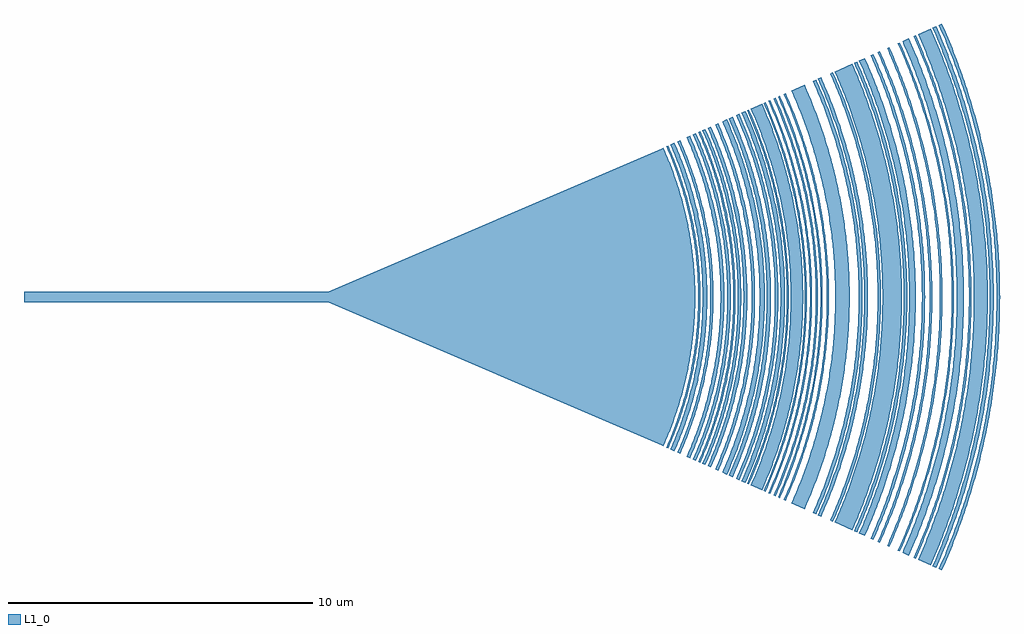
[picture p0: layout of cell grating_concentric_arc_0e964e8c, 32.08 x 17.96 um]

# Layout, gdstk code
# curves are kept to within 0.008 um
import gdstk
lib = gdstk.Library(unit=1e-6, precision=1e-09)
def R(c, l, rs):  # rectangles x0, y0, x1, y1
    for r in rs: c.add(gdstk.rectangle(r[:2], r[2:], *l))
def P(c, l, *ps):  # polygons
    for p in ps: c.add(gdstk.Polygon(p, *l))
L1_0 = (1, 0)

straight_b617759b = lib.new_cell('straight_b617759b')
R(straight_b617759b, L1_0, [(0,-0.175,10,0.175)])

ring_ac235c54_transform_ = lib.new_cell('ring_ac235c54_transform_859a3ea5')
P(ring_ac235c54_transform_, L1_0, [(10.963,-4.881),(11.178,-4.366),(11.413,-3.708),(11.591,-3.106),(11.738,-2.495),(11.83,-2.015),(11.927,-1.324),(11.98,-0.698),(12,-0.07),(11.984,0.628),(11.948,1.115),(11.893,1.601),(11.78,2.29),(11.644,2.903),(11.434,3.642),(11.228,4.235),(10.963,4.881),(11.02,4.907),(11.237,4.389),(11.473,3.728),(11.634,3.19),(11.8,2.508),(11.926,1.818),(12.011,1.121),(12.056,0.421),(12.063,-0.14),(12.039,-0.771),(11.982,-1.4),(11.892,-2.026),(11.754,-2.714),(11.557,-3.46),(11.312,-4.192),(11.02,-4.907)])

ring_e9fd9d29_transform_ = lib.new_cell('ring_e9fd9d29_transform_0491ef3d')
P(ring_e9fd9d29_transform_, L1_0, [(11.113,-4.948),(11.332,-4.426),(11.57,-3.759),(11.751,-3.149),(11.914,-2.46),(12.037,-1.763),(12.099,-1.272),(12.149,-0.637),(12.165,-0.071),(12.149,0.637),(12.113,1.131),(12.037,1.763),(11.942,2.321),(11.787,3.012),(11.613,3.624),(11.357,4.36),(11.113,4.948),(11.176,4.976),(11.447,4.318),(11.657,3.713),(11.835,3.098),(11.981,2.474),(12.105,1.773),(12.167,1.279),(12.221,0.569),(12.234,-0.071),(12.209,-0.782),(12.143,-1.491),(12.048,-2.124),(11.936,-2.683),(11.835,-3.098),(11.72,-3.509),(11.496,-4.184),(11.343,-4.583),(11.176,-4.976)])

ring_36528f68_transform_ = lib.new_cell('ring_36528f68_transform_8f801a2b')
P(ring_36528f68_transform_, L1_0, [(11.245,-5.007),(11.466,-4.478),(11.662,-3.94),(11.852,-3.324),(12.01,-2.699),(12.158,-1.926),(12.226,-1.429),(12.284,-0.787),(12.309,-0.072),(12.296,0.573),(12.256,1.144),(12.199,1.642),(12.122,2.137),(11.961,2.908),(11.771,3.599),(11.492,4.411),(11.245,5.007),(11.383,5.068),(11.658,4.397),(11.894,3.712),(12.072,3.085),(12.217,2.449),(12.328,1.806),(12.406,1.158),(12.443,0.652),(12.46,-0.072),(12.439,-0.724),(12.358,-1.59),(12.258,-2.235),(12.09,-3.014),(11.957,-3.504),(11.804,-3.988),(11.606,-4.533),(11.441,-4.935),(11.383,-5.068)])

ring_4e9a5f88_transform_ = lib.new_cell('ring_4e9a5f88_transform_63920a7b')
P(ring_4e9a5f88_transform_, L1_0, [(11.48,-5.111),(11.706,-4.572),(11.952,-3.883),(12.119,-3.323),(12.277,-2.684),(12.376,-2.182),(12.482,-1.459),(12.541,-0.804),(12.566,-0.146),(12.559,0.439),(12.519,1.095),(12.434,1.821),(12.336,2.398),(12.157,3.182),(11.974,3.814),(11.706,4.572),(11.48,5.111),(11.568,5.15),(11.822,4.538),(12.066,3.843),(12.193,3.42),(12.371,2.705),(12.507,1.981),(12.594,1.324),(12.646,0.663),(12.663,-0.074),(12.642,-0.736),(12.569,-1.543),(12.471,-2.199),(12.322,-2.92),(12.11,-3.702),(11.822,-4.538),(11.568,-5.15)])

ring_e7aee1b5_transform_ = lib.new_cell('ring_e7aee1b5_transform_5269348d')
P(ring_e7aee1b5_transform_, L1_0, [(11.783,-5.246),(12.068,-4.552),(12.267,-3.986),(12.478,-3.266),(12.616,-2.682),(12.715,-2.166),(12.811,-1.497),(12.872,-0.825),(12.898,-0.075),(12.884,0.6),(12.849,1.124),(12.783,1.721),(12.689,2.314),(12.533,3.047),(12.312,3.843),(12.068,4.552),(11.783,5.246),(11.895,5.296),(12.129,4.737),(12.384,4.024),(12.558,3.443),(12.737,2.707),(12.861,2.037),(12.958,1.286),(13.007,0.606),(13.021,-0.076),(12.999,-0.757),(12.933,-1.512),(12.81,-2.336),(12.67,-3.003),(12.558,-3.443),(12.43,-3.879),(12.287,-4.311),(12.129,-4.737),(11.895,-5.296)])

ring_17fc9928_transform_ = lib.new_cell('ring_17fc9928_transform_01e272eb')
P(ring_17fc9928_transform_, L1_0, [(11.988,-5.338),(12.224,-4.774),(12.481,-4.055),(12.656,-3.47),(12.82,-2.803),(12.937,-2.204),(13.043,-1.448),(13.101,-0.763),(13.123,-0.076),(13.109,0.611),(13.059,1.296),(12.984,1.902),(12.882,2.504),(12.733,3.175),(12.504,3.983),(12.224,4.774),(11.988,5.338),(12.088,5.382),(12.326,4.814),(12.585,4.089),(12.801,3.35),(12.959,2.676),(13.093,1.918),(13.168,1.307),(13.218,0.616),(13.232,-0.077),(13.21,-0.769),(13.134,-1.613),(13.018,-2.374),(12.876,-3.052),(12.654,-3.869),(12.486,-4.381),(12.326,-4.814),(12.088,-5.382)])

ring_823b5f26_transform_ = lib.new_cell('ring_823b5f26_transform_c05b0b9d')
P(ring_823b5f26_transform_, L1_0, [(12.167,-5.417),(12.462,-4.701),(12.667,-4.116),(12.865,-3.447),(13.028,-2.769),(13.155,-2.083),(13.246,-1.392),(13.296,-0.774),(13.319,0),(13.296,0.774),(13.246,1.392),(13.155,2.083),(13.059,2.617),(12.885,3.372),(12.667,4.116),(12.462,4.701),(12.167,5.417),(12.229,5.445),(12.469,4.87),(12.731,4.137),(12.93,3.465),(13.11,2.707),(13.245,1.94),(13.321,1.322),(13.372,0.623),(13.386,-0.078),(13.364,-0.778),(13.296,-1.554),(13.183,-2.324),(13.043,-3.011),(12.846,-3.765),(12.707,-4.211),(12.579,-4.578),(12.382,-5.087),(12.229,-5.445)])

ring_763e2590_transform_ = lib.new_cell('ring_763e2590_transform_c8ed60ca')
P(ring_763e2590_transform_, L1_0, [(12.304,-5.478),(12.546,-4.9),(12.785,-4.237),(13.01,-3.486),(13.158,-2.877),(13.303,-2.107),(13.378,-1.564),(13.436,-0.94),(13.468,-0.157),(13.458,0.548),(13.424,1.096),(13.359,1.719),(13.236,2.493),(13.069,3.258),(12.857,4.013),(12.602,4.754),(12.304,5.478),(12.399,5.52),(12.671,4.864),(12.884,4.269),(13.11,3.513),(13.276,2.822),(13.393,2.201),(13.498,1.419),(13.558,0.631),(13.572,-0.079),(13.545,-0.868),(13.481,-1.576),(13.38,-2.279),(13.207,-3.13),(12.956,-4.044),(12.671,-4.864),(12.399,-5.52)])

ring_2df4e364_transform_ = lib.new_cell('ring_2df4e364_transform_0c90e72f')
P(ring_2df4e364_transform_, L1_0, [(12.473,-5.553),(12.747,-4.893),(13.01,-4.144),(13.209,-3.457),(13.355,-2.839),(13.498,-2.057),(13.579,-1.427),(13.626,-0.873),(13.653,-0.159),(13.642,0.556),(13.602,1.19),(13.521,1.9),(13.418,2.527),(13.248,3.303),(13.01,4.144),(12.747,4.893),(12.473,5.553),(12.583,5.602),(12.859,4.936),(13.124,4.18),(13.325,3.487),(13.473,2.864),(13.604,2.155),(13.714,1.28),(13.759,0.641),(13.773,-0.16),(13.74,-0.961),(13.671,-1.679),(13.536,-2.549),(13.384,-3.254),(13.262,-3.719),(13.124,-4.18),(12.943,-4.711),(12.771,-5.16),(12.583,-5.602)])

ring_6a0281c6_transform_ = lib.new_cell('ring_6a0281c6_transform_a5355541')
P(ring_6a0281c6_transform_, L1_0, [(12.72,-5.663),(12.999,-4.99),(13.243,-4.303),(13.45,-3.604),(13.603,-2.974),(13.753,-2.178),(13.848,-1.455),(13.905,-0.729),(13.924,-0.081),(13.909,0.648),(13.864,1.294),(13.789,1.938),(13.668,2.657),(13.491,3.447),(13.292,4.148),(13.028,4.914),(12.72,5.663),(12.817,5.706),(13.098,5.028),(13.368,4.258),(13.552,3.631),(13.74,2.837),(13.857,2.195),(13.969,1.304),(14.018,0.571),(14.029,-0.163),(14.001,-0.897),(13.935,-1.629),(13.83,-2.356),(13.67,-3.156),(13.552,-3.631),(13.417,-4.102),(13.292,-4.49),(13.098,-5.028),(12.817,-5.706)])

ring_74158692_transform_ = lib.new_cell('ring_74158692_transform_9c91b181')
P(ring_74158692_transform_, L1_0, [(12.956,-5.768),(13.27,-5.005),(13.488,-4.383),(13.699,-3.671),(13.855,-3.029),(13.995,-2.3),(14.077,-1.728),(14.148,-0.989),(14.18,-0.248),(14.174,0.495),(14.142,1.072),(14.077,1.728),(13.967,2.463),(13.781,3.351),(13.563,4.146),(13.299,4.928),(12.956,5.768),(13.109,5.836),(13.426,5.064),(13.673,4.355),(13.903,3.552),(14.07,2.82),(14.21,1.997),(14.295,1.251),(14.338,0.584),(14.349,-0.167),(14.315,-1.001),(14.243,-1.749),(14.102,-2.656),(13.903,-3.552),(13.747,-4.115),(13.595,-4.593),(13.426,-5.064),(13.209,-5.607),(13.109,-5.836)])

ring_ebc1c8a3_transform_ = lib.new_cell('ring_ebc1c8a3_transform_b931a7d4')
P(ring_ebc1c8a3_transform_, L1_0, [(13.173,-5.865),(13.432,-5.246),(13.688,-4.536),(13.884,-3.894),(14.087,-3.08),(14.229,-2.339),(14.332,-1.591),(14.39,-0.922),(14.419,-0.168),(14.408,0.587),(14.365,1.257),(14.291,1.924),(14.186,2.587),(14.031,3.325),(13.79,4.216),(13.492,5.089),(13.173,5.865),(13.295,5.919),(13.556,5.294),(13.867,4.417),(14.079,3.685),(14.235,3.026),(14.374,2.277),(14.482,1.437),(14.541,0.592),(14.553,-0.085),(14.523,-0.931),(14.455,-1.689),(14.332,-2.527),(14.161,-3.356),(14.035,-3.848),(13.867,-4.417),(13.704,-4.898),(13.525,-5.373),(13.295,-5.919)])

ring_af2b280c_transform_ = lib.new_cell('ring_af2b280c_transform_41b0bb28')
P(ring_af2b280c_transform_, L1_0, [(13.415,-5.973),(13.74,-5.183),(13.966,-4.538),(14.162,-3.883),(14.346,-3.137),(14.504,-2.297),(14.595,-1.62),(14.655,-0.939),(14.684,-0.171),(14.673,0.598),(14.629,1.28),(14.565,1.874),(14.447,2.634),(14.269,3.47),(14.018,4.375),(13.74,5.183),(13.415,5.973),(13.515,6.017),(13.811,5.302),(14.07,4.572),(14.29,3.829),(14.471,3.076),(14.612,2.314),(14.722,1.461),(14.774,0.774),(14.794,-0.086),(14.764,-0.946),(14.704,-1.632),(14.584,-2.484),(14.415,-3.328),(14.172,-4.243),(14.016,-4.735),(13.842,-5.221),(13.515,-6.017)])

ring_4639c4a3_transform_ = lib.new_cell('ring_4639c4a3_transform_f1591766')
P(ring_4639c4a3_transform_, L1_0, [(13.585,-6.049),(13.852,-5.41),(14.116,-4.678),(14.319,-4.016),(14.528,-3.176),(14.66,-2.497),(14.771,-1.726),(14.841,-0.951),(14.871,-0.087),(14.859,0.605),(14.815,1.296),(14.75,1.898),(14.63,2.668),(14.45,3.514),(14.196,4.431),(13.914,5.248),(13.585,6.049),(13.717,6.107),(14.018,5.381),(14.307,4.557),(14.504,3.886),(14.687,3.122),(14.844,2.263),(14.942,1.483),(14.995,0.786),(15.015,-0.087),(14.99,-0.873),(14.914,-1.743),(14.772,-2.693),(14.59,-3.548),(14.481,-3.971),(14.307,-4.557),(14.11,-5.135),(13.922,-5.625),(13.717,-6.107)])

ring_0bebd035_transform_ = lib.new_cell('ring_0bebd035_transform_0e7b15a2')
P(ring_0bebd035_transform_, L1_0, [(13.772,-6.132),(13.945,-5.729),(14.106,-5.321),(14.338,-4.659),(14.539,-3.987),(14.728,-3.22),(14.862,-2.531),(14.929,-2.098),(14.984,-1.663),(15.026,-1.227),(15.055,-0.789),(15.076,0),(15.055,0.789),(15.002,1.489),(14.904,2.272),(14.782,2.963),(14.628,3.647),(14.417,4.408),(14.283,4.825),(14.106,5.321),(13.945,5.729),(13.772,6.132),(13.828,6.157),(14.131,5.424),(14.254,5.094),(14.423,4.594),(14.621,3.918),(14.806,3.147),(14.907,2.628),(14.964,2.281),(15.054,1.582),(15.116,0.792),(15.137,0),(15.116,-0.792),(15.079,-1.319),(15.044,-1.67),(14.977,-2.194),(14.922,-2.542),(14.749,-3.405),(14.621,-3.918),(14.526,-4.257),(14.423,-4.594),(14.254,-5.094),(14.067,-5.588),(13.828,-6.157)])

ring_f835a153_transform_ = lib.new_cell('ring_f835a153_transform_fd59a927')
P(ring_f835a153_transform_, L1_0, [(13.892,-6.185),(14.197,-5.45),(14.435,-4.783),(14.642,-4.106),(14.837,-3.335),(14.991,-2.553),(15.104,-1.765),(15.17,-1.061),(15.203,-0.354),(15.203,0.354),(15.149,1.325),(15.059,2.116),(14.893,3.075),(14.689,3.936),(14.49,4.615),(14.197,5.45),(13.892,6.185),(14.261,6.349),(14.574,5.594),(14.875,4.738),(15.125,3.865),(15.324,2.979),(15.459,2.173),(15.559,1.27),(15.607,0.363),(15.607,-0.363),(15.579,-0.998),(15.543,-1.451),(15.419,-2.442),(15.324,-2.979),(15.211,-3.512),(14.981,-4.39),(14.79,-4.996),(14.638,-5.424),(14.44,-5.932),(14.261,-6.349)])

ring_dd963181_transform_ = lib.new_cell('ring_dd963181_transform_89c6fe9b')
P(ring_dd963181_transform_, L1_0, [(14.316,-6.374),(14.496,-5.955),(14.663,-5.531),(14.876,-4.929),(15.089,-4.232),(15.228,-3.703),(15.31,-3.347),(15.464,-2.542),(15.576,-1.729),(15.645,-0.911),(15.671,-0.091),(15.665,0.456),(15.65,0.82),(15.595,1.547),(15.506,2.271),(15.366,3.08),(15.228,3.703),(15.013,4.495),(14.847,5.016),(14.695,5.445),(14.496,5.955),(14.316,6.374),(14.372,6.399),(14.687,5.638),(14.962,4.861),(15.196,4.072),(15.388,3.271),(15.538,2.461),(15.646,1.644),(15.687,1.189),(15.715,0.732),(15.732,0),(15.715,-0.732),(15.687,-1.189),(15.646,-1.644),(15.538,-2.461),(15.477,-2.822),(15.369,-3.36),(15.172,-4.16),(14.99,-4.774),(14.845,-5.208),(14.654,-5.723),(14.372,-6.399)])

ring_77028cd8_transform_ = lib.new_cell('ring_77028cd8_transform_bc5c9d3a')
P(ring_77028cd8_transform_, L1_0, [(14.472,-6.444),(14.757,-5.763),(14.918,-5.332),(15.067,-4.895),(15.177,-4.544),(15.326,-4.011),(15.496,-3.294),(15.647,-2.478),(15.724,-1.931),(15.765,-1.564),(15.825,-0.737),(15.842,-0.092),(15.825,0.737),(15.765,1.564),(15.675,2.296),(15.585,2.842),(15.515,3.204),(15.349,3.922),(15.177,4.544),(15.009,5.07),(14.855,5.505),(14.654,6.02),(14.472,6.444),(14.528,6.468),(14.71,6.043),(14.912,5.526),(15.153,4.826),(15.361,4.116),(15.536,3.397),(15.645,2.853),(15.707,2.488),(15.806,1.754),(15.876,0.925),(15.896,0.463),(15.903,0),(15.896,-0.463),(15.876,-0.925),(15.806,-1.754),(15.707,-2.488),(15.645,-2.853),(15.536,-3.397),(15.408,-3.937),(15.287,-4.383),(15.153,-4.826),(15.006,-5.265),(14.745,-5.957),(14.528,-6.468)])

ring_a7ab938e_transform_ = lib.new_cell('ring_a7ab938e_transform_d51fcc17')
P(ring_a7ab938e_transform_, L1_0, [(14.644,-6.52),(14.965,-5.745),(15.157,-5.219),(15.274,-4.865),(15.508,-4.059),(15.68,-3.333),(15.833,-2.508),(15.942,-1.676),(16.003,-0.932),(16.03,-0.093),(16.017,0.653),(15.952,1.583),(15.899,2.046),(15.833,2.508),(15.699,3.242),(15.508,4.059),(15.274,4.865),(15.157,5.219),(14.965,5.745),(14.644,6.52),(14.704,6.547),(15.06,5.681),(15.336,4.885),(15.547,4.166),(15.744,3.346),(15.897,2.518),(15.964,2.054),(16.017,1.589),(16.078,0.749),(16.095,-0.094),(16.068,-0.936),(15.997,-1.776),(15.939,-2.24),(15.867,-2.703),(15.704,-3.529),(15.472,-4.436),(15.188,-5.329),(14.958,-5.942),(14.704,-6.547)])

ring_de96e7bf_transform_ = lib.new_cell('ring_de96e7bf_transform_667bdb92')
P(ring_de96e7bf_transform_, L1_0, [(14.787,-6.584),(14.972,-6.151),(15.145,-5.713),(15.394,-5.002),(15.635,-4.189),(15.833,-3.365),(15.972,-2.625),(16.088,-1.786),(16.159,-0.941),(16.186,-0.094),(16.169,0.753),(16.116,1.505),(16.029,2.253),(15.972,2.625),(15.871,3.181),(15.706,3.916),(15.479,4.732),(15.335,5.181),(15.145,5.713),(14.972,6.151),(14.787,6.584),(14.842,6.608),(15.168,5.822),(15.452,5.021),(15.693,4.205),(15.892,3.378),(16.047,2.542),(16.158,1.698),(16.225,0.85),(16.24,0.473),(16.247,-0.095),(16.237,-0.567),(16.214,-1.039),(16.148,-1.792),(16.032,-2.635),(15.872,-3.47),(15.787,-3.839),(15.643,-4.387),(15.481,-4.931),(15.331,-5.379),(15.064,-6.086),(14.842,-6.608)])

ring_6514ae1a_transform_ = lib.new_cell('ring_6514ae1a_transform_8463d5a8')
P(ring_6514ae1a_transform_, L1_0, [(14.977,-6.668),(15.271,-5.964),(15.47,-5.428),(15.592,-5.066),(15.836,-4.243),(16.016,-3.502),(16.162,-2.753),(16.235,-2.282),(16.305,-1.714),(16.367,-0.953),(16.394,-0.095),(16.377,0.763),(16.305,1.714),(16.207,2.47),(16.075,3.222),(15.884,4.059),(15.706,4.702),(15.532,5.247),(15.373,5.697),(15.165,6.23),(14.977,6.668),(15.036,6.694),(15.331,5.987),(15.466,5.629),(15.653,5.086),(15.898,4.26),(16.099,3.422),(16.271,2.48),(16.378,1.625),(16.441,0.766),(16.458,-0.096),(16.431,-0.957),(16.358,-1.816),(16.241,-2.669),(16.156,-3.14),(16.058,-3.609),(15.97,-3.982),(15.821,-4.537),(15.653,-5.086),(15.53,-5.449),(15.296,-6.077),(15.036,-6.694)])

ring_07200d25_transform_ = lib.new_cell('ring_07200d25_transform_61edec3b')
P(ring_07200d25_transform_, L1_0, [(15.228,-6.78),(15.562,-5.974),(15.823,-5.243),(16.05,-4.501),(16.242,-3.75),(16.399,-2.99),(16.533,-2.128),(16.614,-1.356),(16.659,-0.582),(16.669,-0.097),(16.662,0.485),(16.614,1.356),(16.507,2.32),(16.363,3.181),(16.242,3.75),(16.126,4.221),(15.883,5.059),(15.562,5.974),(15.228,6.78),(15.659,6.972),(16.038,6.05),(16.302,5.297),(16.557,4.436),(16.679,3.953),(16.807,3.368),(16.96,2.484),(17.076,1.494),(17.134,0.499),(17.134,-0.499),(17.106,-1.096),(17.067,-1.593),(17.001,-2.188),(16.93,-2.681),(16.845,-3.173),(16.724,-3.759),(16.557,-4.436),(16.421,-4.916),(16.271,-5.392),(16.073,-5.956),(15.893,-6.421),(15.659,-6.972)])

ring_54df2a2b_transform_ = lib.new_cell('ring_54df2a2b_transform_2e03e3dc')
P(ring_54df2a2b_transform_, L1_0, [(15.933,-7.094),(16.283,-6.25),(16.556,-5.486),(16.847,-4.514),(17.06,-3.626),(17.242,-2.628),(17.356,-1.722),(17.417,-0.913),(17.441,-0.101),(17.422,0.811),(17.375,1.52),(17.285,2.327),(17.14,3.228),(16.923,4.219),(16.649,5.196),(16.319,6.155),(15.933,7.094),(16.042,7.142),(16.394,6.293),(16.701,5.426),(16.962,4.545),(17.198,3.551),(17.36,2.646),(17.475,1.734),(17.546,0.715),(17.56,-0.102),(17.525,-1.123),(17.43,-2.14),(17.276,-3.15),(17.087,-4.05),(16.935,-4.644),(16.763,-5.232),(16.604,-5.717),(16.394,-6.293),(16.042,-7.142)])

ring_a25629e1_transform_ = lib.new_cell('ring_a25629e1_transform_1247940a')
P(ring_a25629e1_transform_, L1_0, [(16.098,-7.167),(16.451,-6.315),(16.759,-5.445),(17.021,-4.561),(17.236,-3.664),(17.388,-2.858),(17.502,-2.046),(17.585,-1.127),(17.621,-0.103),(17.602,0.82),(17.545,1.638),(17.435,2.554),(17.317,3.262),(17.098,4.263),(16.821,5.25),(16.661,5.737),(16.451,6.315),(16.098,7.167),(16.208,7.216),(16.526,6.454),(16.841,5.581),(17.137,4.592),(17.354,3.689),(17.539,2.673),(17.655,1.752),(17.712,1.032),(17.742,0),(17.712,-1.032),(17.622,-2.06),(17.49,-2.979),(17.287,-3.991),(17.026,-4.989),(16.841,-5.581),(16.6,-6.262),(16.208,-7.216)])

ring_95d844fd_transform_ = lib.new_cell('ring_95d844fd_transform_ada951fd')
P(ring_95d844fd_transform_, L1_0, [(16.502,-7.347),(16.864,-6.473),(17.179,-5.582),(17.448,-4.675),(17.669,-3.756),(17.841,-2.826),(17.953,-1.993),(18.033,-1.05),(18.063,-0.105),(18.044,0.84),(17.975,1.784),(17.873,2.618),(17.711,3.55),(17.475,4.574),(17.243,5.382),(16.938,6.277),(16.748,6.767),(16.502,7.347),(16.593,7.388),(16.995,6.411),(17.275,5.613),(17.572,4.599),(17.81,3.569),(17.972,2.633),(18.095,1.583),(18.149,0.74),(18.163,-0.211),(18.127,-1.162),(18.041,-2.109),(17.906,-3.05),(17.722,-3.983),(17.572,-4.599),(17.431,-5.108),(17.242,-5.713),(17.032,-6.312),(16.841,-6.804),(16.593,-7.388)])

ring_89aadffa_transform_ = lib.new_cell('ring_89aadffa_transform_a4d3b21b')
P(ring_89aadffa_transform_, L1_0, [(16.649,-7.412),(16.976,-6.63),(17.266,-5.833),(17.489,-5.125),(17.733,-4.203),(17.929,-3.269),(18.047,-2.536),(18.155,-1.588),(18.209,-0.742),(18.223,0.212),(18.18,1.271),(18.075,2.326),(17.929,3.269),(17.804,3.893),(17.683,4.409),(17.397,5.43),(17.089,6.333),(16.897,6.827),(16.649,7.412),(17.226,7.67),(17.643,6.655),(18,5.618),(18.156,5.092),(18.296,4.562),(18.51,3.598),(18.607,3.058),(18.688,2.516),(18.794,1.534),(18.851,0.439),(18.856,-0.11),(18.841,-0.768),(18.802,-1.425),(18.753,-1.971),(18.673,-2.624),(18.57,-3.274),(18.467,-3.813),(18.296,-4.562),(18.126,-5.197),(17.899,-5.931),(17.604,-6.757),(17.226,-7.67)])

ring_2a37601f_transform_ = lib.new_cell('ring_2a37601f_transform_95face16')
P(ring_2a37601f_transform_, L1_0, [(17.286,-7.696),(17.665,-6.781),(17.961,-5.952),(18.248,-5.003),(18.485,-4.042),(18.671,-3.069),(18.806,-2.087),(18.883,-1.21),(18.921,-0.11),(18.901,0.88),(18.829,1.868),(18.722,2.742),(18.574,3.61),(18.461,4.149),(18.305,4.791),(18.029,5.742),(17.665,6.781),(17.286,7.696),(17.386,7.741),(17.768,6.82),(17.922,6.405),(18.134,5.776),(18.412,4.819),(18.639,3.849),(18.743,3.305),(18.831,2.758),(18.939,1.879),(19.006,0.996),(19.032,0),(19.024,-0.554),(19,-1.107),(18.916,-2.099),(18.78,-3.087),(18.569,-4.173),(18.412,-4.819),(18.264,-5.352),(17.922,-6.405),(17.687,-7.027),(17.386,-7.741)])

ring_05938c0a_transform_ = lib.new_cell('ring_05938c0a_transform_9e1a339e')
P(ring_05938c0a_transform_, L1_0, [(17.448,-7.768),(17.831,-6.845),(18.165,-5.902),(18.42,-5.051),(18.659,-4.08),(18.847,-3.098),(18.983,-2.107),(19.053,-1.332),(19.097,-0.333),(19.088,0.667),(19.027,1.665),(18.929,2.548),(18.79,3.426),(18.559,4.513),(18.42,5.051),(18.265,5.584),(18.095,6.113),(17.909,6.637),(17.709,7.155),(17.448,7.768),(17.642,7.855),(17.989,7.026),(18.367,5.968),(18.533,5.431),(18.683,4.89),(18.913,3.905),(19.019,3.353),(19.108,2.799),(19.218,1.907),(19.265,1.347),(19.296,0.786),(19.311,-0.225),(19.265,-1.347),(19.168,-2.354),(18.999,-3.464),(18.89,-4.015),(18.765,-4.563),(18.564,-5.323),(18.367,-5.968),(18.109,-6.711),(17.906,-7.234),(17.642,-7.855)])

ring_38d1e691_transform_ = lib.new_cell('ring_38d1e691_transform_c8225baa')
P(ring_38d1e691_transform_, L1_0, [(17.832,-7.939),(18.056,-7.417),(18.264,-6.889),(18.565,-6.032),(18.855,-5.052),(18.994,-4.502),(19.117,-3.947),(19.28,-3.054),(19.413,-2.04),(19.487,-1.135),(19.52,-0.114),(19.504,0.795),(19.446,1.701),(19.33,2.717),(19.161,3.725),(19.02,4.391),(18.884,4.942),(18.565,6.032),(18.264,6.889),(18.056,7.417),(17.832,7.939),(17.923,7.98),(18.316,7.031),(18.659,6.063),(18.98,4.967),(19.214,3.967),(19.395,2.956),(19.523,1.937),(19.598,0.913),(19.619,0),(19.611,-0.571),(19.586,-1.141),(19.499,-2.164),(19.359,-3.182),(19.166,-4.191),(19.008,-4.857),(18.859,-5.408),(18.659,-6.063),(18.436,-6.71),(18.233,-7.243),(17.923,-7.98)])

ring_78694630_transform_ = lib.new_cell('ring_78694630_transform_4d0150ee')
P(ring_78694630_transform_, L1_0, [(18.063,-8.042),(18.418,-7.193),(18.658,-6.546),(18.805,-6.11),(19.099,-5.118),(19.341,-4.111),(19.511,-3.207),(19.596,-2.638),(19.664,-2.067),(19.746,-1.035),(19.773,0),(19.746,1.035),(19.676,1.952),(19.564,2.866),(19.387,3.886),(19.213,4.672),(18.975,5.561),(18.733,6.328),(18.541,6.871),(18.29,7.514),(18.063,8.042),(18.137,8.075),(18.494,7.223),(18.696,6.682),(18.918,6.025),(19.207,5.027),(19.444,4.015),(19.61,3.106),(19.692,2.534),(19.757,1.96),(19.827,1.039),(19.849,0.462),(19.854,-0.116),(19.842,-0.693),(19.806,-1.385),(19.72,-2.305),(19.572,-3.334),(19.371,-4.354),(19.236,-4.915),(19.053,-5.583),(18.918,-6.025),(18.696,-6.682),(18.494,-7.223),(18.137,-8.075)])

ring_84fb10cb_transform_ = lib.new_cell('ring_84fb10cb_transform_e23871b8')
P(ring_84fb10cb_transform_, L1_0, [(18.372,-8.18),(18.733,-7.316),(19.09,-6.326),(19.395,-5.318),(19.541,-4.752),(19.671,-4.181),(19.863,-3.146),(19.988,-2.218),(20.044,-1.636),(20.083,-1.053),(20.111,0),(20.089,0.936),(20.012,1.986),(19.881,3.03),(19.695,4.067),(19.485,4.979),(19.266,5.768),(19.09,6.326),(18.898,6.878),(18.646,7.534),(18.372,8.18),(18.443,8.212),(18.806,7.345),(19.011,6.795),(19.201,6.239),(19.501,5.225),(19.748,4.198),(19.882,3.506),(19.976,2.926),(20.102,1.877),(20.167,0.939),(20.189,-0.117),(20.155,-1.174),(20.066,-2.227),(19.922,-3.274),(19.818,-3.852),(19.698,-4.427),(19.531,-5.112),(19.407,-5.565),(19.201,-6.239),(19.011,-6.795),(18.763,-7.454),(18.443,-8.212)])

ring_f7cdd939_transform_ = lib.new_cell('ring_f7cdd939_transform_44ff6ab4')
P(ring_f7cdd939_transform_, L1_0, [(18.727,-8.338),(18.962,-7.79),(19.181,-7.235),(19.496,-6.335),(19.639,-5.879),(19.801,-5.306),(19.947,-4.728),(20.052,-4.262),(20.146,-3.794),(20.266,-3.089),(20.347,-2.498),(20.4,-2.024),(20.45,-1.43),(20.478,-0.954),(20.5,0),(20.478,0.954),(20.45,1.43),(20.4,2.024),(20.347,2.498),(20.266,3.089),(20.1,4.029),(19.891,4.959),(19.639,5.879),(19.383,6.674),(19.181,7.235),(18.962,7.79),(18.727,8.338),(18.786,8.364),(19.021,7.814),(19.198,7.369),(19.404,6.808),(19.594,6.241),(19.734,5.783),(19.894,5.207),(20.037,4.626),(20.139,4.158),(20.23,3.689),(20.329,3.099),(20.451,2.149),(20.529,1.196),(20.555,0.598),(20.564,0),(20.555,-0.598),(20.529,-1.196),(20.451,-2.149),(20.38,-2.743),(20.272,-3.453),(20.089,-4.392),(19.953,-4.975),(19.8,-5.553),(19.63,-6.127),(19.404,-6.808),(19.111,-7.592),(18.786,-8.364)])

ring_14d06e3d_transform_ = lib.new_cell('ring_14d06e3d_transform_b050d67b')
P(ring_14d06e3d_transform_, L1_0, [(18.879,-8.405),(19.293,-7.406),(19.654,-6.386),(19.93,-5.465),(20.08,-4.883),(20.214,-4.297),(20.392,-3.351),(20.539,-2.28),(20.623,-1.322),(20.664,-0.24),(20.653,0.721),(20.597,1.681),(20.496,2.638),(20.33,3.707),(20.214,4.297),(20.08,4.883),(19.93,5.465),(19.727,6.157),(19.5,6.841),(19.293,7.406),(18.879,8.405),(19.089,8.499),(19.328,7.94),(19.551,7.375),(19.835,6.572),(20.052,5.876),(20.183,5.408),(20.439,4.344),(20.619,3.389),(20.692,2.908),(20.781,2.184),(20.826,1.7),(20.873,0.972),(20.892,0.365),(20.894,-0.243),(20.878,-0.851),(20.844,-1.458),(20.781,-2.184),(20.724,-2.667),(20.657,-3.149),(20.534,-3.868),(20.304,-4.937),(20.086,-5.759),(19.835,-6.572),(19.551,-7.375),(19.328,-7.94),(19.089,-8.499)])

ring_d4ef9eb4_transform_ = lib.new_cell('ring_d4ef9eb4_transform_1249a740')
P(ring_d4ef9eb4_transform_, L1_0, [(19.246,-8.569),(19.487,-8.006),(19.712,-7.435),(20.074,-6.394),(20.35,-5.453),(20.607,-4.38),(20.789,-3.417),(20.939,-2.324),(21.032,-1.225),(21.059,-0.613),(21.067,-0.123),(21.045,0.98),(20.976,1.958),(20.845,3.053),(20.657,4.14),(20.412,5.216),(20.147,6.16),(19.92,6.859),(19.755,7.321),(19.487,8.006),(19.246,8.569),(19.314,8.599),(19.693,7.691),(20.069,6.65),(20.389,5.591),(20.514,5.115),(20.68,4.396),(20.862,3.429),(20.953,2.82),(21.026,2.21),(21.113,1.106),(21.142,0),(21.113,-1.106),(21.072,-1.72),(21.013,-2.332),(20.862,-3.429),(20.654,-4.516),(20.484,-5.234),(20.323,-5.827),(20.182,-6.299),(19.99,-6.883),(19.693,-7.691),(19.364,-8.487),(19.314,-8.599)])

ring_234f5c54_transform_ = lib.new_cell('ring_234f5c54_transform_27713670')
P(ring_234f5c54_transform_, L1_0, [(19.392,-8.634),(19.773,-7.722),(20.15,-6.677),(20.439,-5.732),(20.711,-4.655),(20.905,-3.686),(21.069,-2.587),(21.176,-1.481),(21.222,-0.494),(21.222,0.494),(21.198,1.111),(21.147,1.85),(21.084,2.464),(21.003,3.077),(20.905,3.686),(20.789,4.293),(20.536,5.375),(20.226,6.442),(19.861,7.492),(19.682,7.952),(19.392,8.634),(19.806,8.818),(20.054,8.238),(20.285,7.652),(20.658,6.579),(20.974,5.489),(21.096,5),(21.282,4.137),(21.469,3.017),(21.548,2.392),(21.608,1.764),(21.671,0.631),(21.68,0.126),(21.671,-0.631),(21.636,-1.386),(21.586,-2.015),(21.503,-2.767),(21.432,-3.267),(21.351,-3.765),(21.18,-4.631),(21.036,-5.245),(20.875,-5.854),(20.658,-6.579),(20.373,-7.415),(20.054,-8.238),(19.806,-8.818)])

ring_df79dc25_transform_ = lib.new_cell('ring_df79dc25_transform_8cd98b67')
P(ring_df79dc25_transform_, L1_0, [(19.865,-8.844),(20.301,-7.793),(20.681,-6.72),(21.004,-5.628),(21.27,-4.521),(21.415,-3.776),(21.497,-3.277),(21.626,-2.273),(21.715,-1.138),(21.745,-0.127),(21.727,0.885),(21.692,1.517),(21.639,2.147),(21.497,3.277),(21.321,4.273),(21.188,4.892),(21.036,5.506),(20.903,5.994),(20.681,6.72),(20.301,7.793),(19.865,8.844),(19.983,8.897),(20.185,8.43),(20.467,7.72),(20.804,6.759),(21.129,5.661),(21.396,4.548),(21.605,3.422),(21.679,2.918),(21.767,2.16),(21.821,1.526),(21.856,0.891),(21.874,-0.127),(21.837,-1.272),(21.741,-2.413),(21.679,-2.918),(21.564,-3.673),(21.448,-4.299),(21.314,-4.921),(21.129,-5.661),(20.955,-6.274),(20.764,-6.88),(20.511,-7.601),(20.185,-8.43),(19.983,-8.897)])

ring_037a597d_transform_ = lib.new_cell('ring_037a597d_transform_a687285e')
P(ring_037a597d_transform_, L1_0, [(20.074,-8.937),(20.514,-7.875),(20.898,-6.79),(21.225,-5.687),(21.493,-4.569),(21.703,-3.437),(21.853,-2.297),(21.936,-1.278),(21.973,-0.128),(21.955,0.895),(21.89,1.915),(21.777,2.931),(21.703,3.437),(21.57,4.193),(21.321,5.316),(21.157,5.934),(20.937,6.668),(20.734,7.275),(20.514,7.875),(20.074,8.937),(20.174,8.982),(20.617,7.914),(21.003,6.824),(21.298,5.84),(21.428,5.343),(21.601,4.591),(21.812,3.455),(21.963,2.308),(22.021,1.669),(22.06,1.027),(22.084,0),(22.078,-0.514),(22.046,-1.284),(21.949,-2.436),(21.869,-3.073),(21.77,-3.708),(21.653,-4.34),(21.518,-4.968),(21.331,-5.716),(21.156,-6.334),(20.963,-6.946),(20.708,-7.674),(20.476,-8.273),(20.174,-8.982)])

grating_concentric_arc_0 = lib.new_cell('grating_concentric_arc_0e964e8c')
P(grating_concentric_arc_0, L1_0, [(0,0.175),(0,-0.175),(10.963,-4.881),(11.203,-4.3),(11.413,-3.708),(11.564,-3.207),(11.716,-2.597),(11.818,-2.084),(11.923,-1.358),(11.978,-0.733),(12,-0.105),(11.989,0.523),(11.945,1.15),(11.868,1.774),(11.738,2.495),(11.564,3.207),(11.413,3.708),(11.203,4.3),(10.963,4.881)])
grating_concentric_arc_0.add(gdstk.Reference(straight_b617759b, (-10,0)))
grating_concentric_arc_0.add(gdstk.Reference(ring_ac235c54_transform_, (0,0)))
grating_concentric_arc_0.add(gdstk.Reference(ring_e9fd9d29_transform_, (0,0)))
grating_concentric_arc_0.add(gdstk.Reference(ring_36528f68_transform_, (0,0)))
grating_concentric_arc_0.add(gdstk.Reference(ring_4e9a5f88_transform_, (0,0)))
grating_concentric_arc_0.add(gdstk.Reference(ring_e7aee1b5_transform_, (0,0)))
grating_concentric_arc_0.add(gdstk.Reference(ring_17fc9928_transform_, (0,0)))
grating_concentric_arc_0.add(gdstk.Reference(ring_823b5f26_transform_, (0,0)))
grating_concentric_arc_0.add(gdstk.Reference(ring_763e2590_transform_, (0,0)))
grating_concentric_arc_0.add(gdstk.Reference(ring_2df4e364_transform_, (0,0)))
grating_concentric_arc_0.add(gdstk.Reference(ring_6a0281c6_transform_, (0,0)))
grating_concentric_arc_0.add(gdstk.Reference(ring_74158692_transform_, (0,0)))
grating_concentric_arc_0.add(gdstk.Reference(ring_ebc1c8a3_transform_, (0,0)))
grating_concentric_arc_0.add(gdstk.Reference(ring_af2b280c_transform_, (0,0)))
grating_concentric_arc_0.add(gdstk.Reference(ring_4639c4a3_transform_, (0,0)))
grating_concentric_arc_0.add(gdstk.Reference(ring_0bebd035_transform_, (0,0)))
grating_concentric_arc_0.add(gdstk.Reference(ring_f835a153_transform_, (0,0)))
grating_concentric_arc_0.add(gdstk.Reference(ring_dd963181_transform_, (0,0)))
grating_concentric_arc_0.add(gdstk.Reference(ring_77028cd8_transform_, (0,0)))
grating_concentric_arc_0.add(gdstk.Reference(ring_a7ab938e_transform_, (0,0)))
grating_concentric_arc_0.add(gdstk.Reference(ring_de96e7bf_transform_, (0,0)))
grating_concentric_arc_0.add(gdstk.Reference(ring_6514ae1a_transform_, (0,0)))
grating_concentric_arc_0.add(gdstk.Reference(ring_07200d25_transform_, (0,0)))
grating_concentric_arc_0.add(gdstk.Reference(ring_54df2a2b_transform_, (0,0)))
grating_concentric_arc_0.add(gdstk.Reference(ring_a25629e1_transform_, (0,0)))
grating_concentric_arc_0.add(gdstk.Reference(ring_95d844fd_transform_, (0,0)))
grating_concentric_arc_0.add(gdstk.Reference(ring_89aadffa_transform_, (0,0)))
grating_concentric_arc_0.add(gdstk.Reference(ring_2a37601f_transform_, (0,0)))
grating_concentric_arc_0.add(gdstk.Reference(ring_05938c0a_transform_, (0,0)))
grating_concentric_arc_0.add(gdstk.Reference(ring_38d1e691_transform_, (0,0)))
grating_concentric_arc_0.add(gdstk.Reference(ring_78694630_transform_, (0,0)))
grating_concentric_arc_0.add(gdstk.Reference(ring_84fb10cb_transform_, (0,0)))
grating_concentric_arc_0.add(gdstk.Reference(ring_f7cdd939_transform_, (0,0)))
grating_concentric_arc_0.add(gdstk.Reference(ring_14d06e3d_transform_, (0,0)))
grating_concentric_arc_0.add(gdstk.Reference(ring_d4ef9eb4_transform_, (0,0)))
grating_concentric_arc_0.add(gdstk.Reference(ring_234f5c54_transform_, (0,0)))
grating_concentric_arc_0.add(gdstk.Reference(ring_df79dc25_transform_, (0,0)))
grating_concentric_arc_0.add(gdstk.Reference(ring_037a597d_transform_, (0,0)))

lib.write_gds('grating_concentric_arc_0e964e8c.gds')
